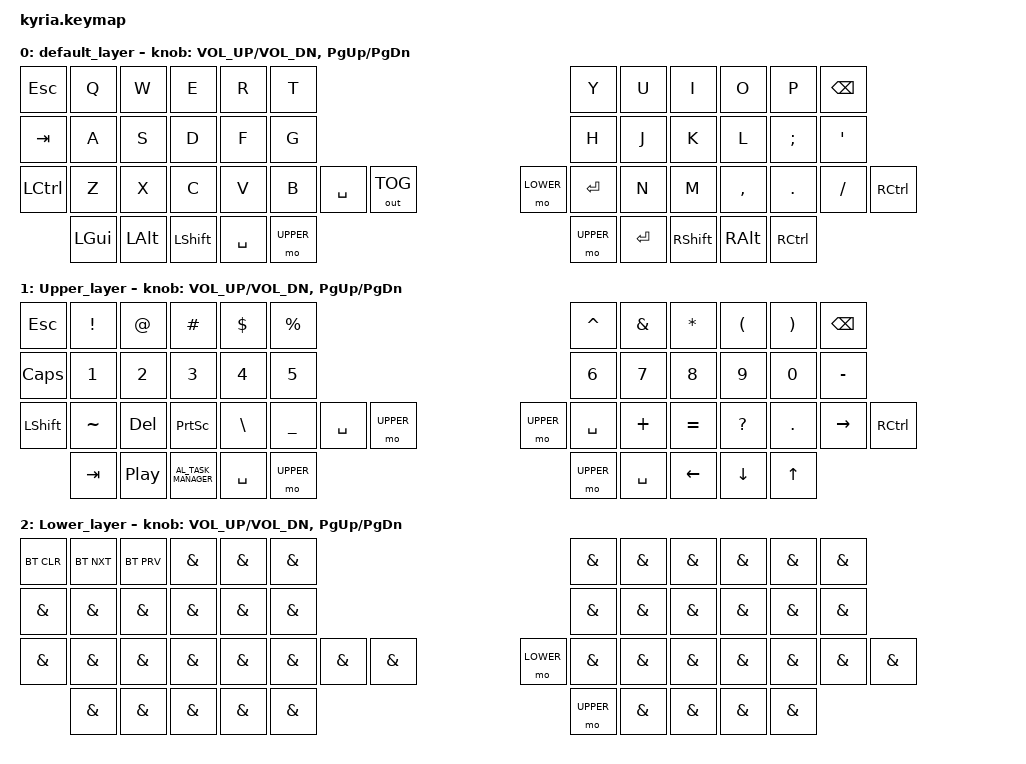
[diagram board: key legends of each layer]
/*
 * Copyright (c) 2020 The ZMK Contributors
 *
 * SPDX-License-Identifier: MIT
 */

#include <behaviors.dtsi>
#include <dt-bindings/zmk/keys.h>
#include <dt-bindings/zmk/bt.h>
#include <dt-bindings/zmk/rgb.h>
#include <dt-bindings/zmk/outputs.h>
#define DEFAULT 0
#define UPPER   1
#define LOWER   2
/ {
	keymap {
		compatible = "zmk,keymap";

		default_layer {
// ---------------------------------------------------------------------------------------------------------------------------------
// |  ESC  |  Q  |  W  |  E   |  R   |  T   |                                         |  Y   |  U    |  I    |  O   |   P   |Backspace|
// |  TAB  |  A  |  S  |  D   |  F   |  G   |                                         |  H   |  J    |  K    |  L   |   ;   |   '  |
// | L-CTRL |  Z  |  X  |  C   |  V   |  B  | SPACE | OUT-TOG |    | LOWER | ENTER |  N   |  M    |  ,    |  .   |   /   | R- CTRL |
//                     | LGUI | L-ALT | SHIFT | SPACE | UPPER |    | UPPER | ENTER | R-SHIFT | R-ALT  | R-CTRL |
			bindings = <
	&kp ESC   &kp Q &kp W &kp E &kp R &kp T                                                &kp Y &kp U  &kp I     &kp O   &kp P    &kp BSPC
	&kp TAB   &kp A &kp S &kp D &kp F &kp G                                                &kp H &kp J  &kp K     &kp L   &kp SEMI &kp SQT
	&kp LCTRL &kp Z &kp X &kp C &kp V &kp B &kp SPACE &out OUT_TOG               &mo LOWER &kp RETURN &kp N &kp M  &kp COMMA &kp DOT &kp FSLH &kp RCTRL
	            &kp LGUI &kp LALT &kp LSHFT &kp SPACE &mo UPPER                  &mo UPPER &kp RETURN &kp RSHFT &kp RALT &kp RCTRL
			>;

			sensor-bindings = <&inc_dec_kp C_VOL_UP C_VOL_DN &inc_dec_kp PG_UP PG_DN>;
		};                                                                                                                     
		Upper_layer {
// ---------------------------------------------------------------------------------------------------------------------------------
// |  ESC  |  !  |  @  |  #   |  $   |  %   |                                          |  ^   |  &    |  *    |  (  |   )  |Backspace|
// |  CAP  |  1  |  2  |  3   |  4   |  5   |                                          |  6   |  7    |  8    |  9  |   0  |  -  |
// | L-SHIFT | ~ | DELETE | PSCRN | BACKSLASH | _ | SPACE | UPPER |   | L SHIFT | ENTER |  +  |   =  | ? | . | RIGHT | R-CTRL|
//                     | TAB | C PAUSE | TASK | SPACE | UPPER |   | L SHIFT | ENTER | LEFT  | DOWN  | UP |
			bindings = <
	&kp ESC   &kp EXCL &kp AT &kp HASH  &kp DLLR &kp PRCNT                                           &kp CARET &kp AMPS &kp STAR &kp LPAR &kp RPAR &kp BSPC
	&kp CAPS  &kp N1 &kp N2 &kp N3 &kp N4 &kp N5                                                     &kp N6 &kp N7 &kp N8 &kp N9 &kp N0 &kp MINUS
	&kp LSHFT &kp TILDE &kp DELETE &kp PSCRN &kp BSLH &kp UNDER &kp SPACE &mo UPPER              &mo UPPER &kp SPACE &kp PLUS &kp EQUAL  &kp QUESTION &kp DOT &kp RIGHT  &kp RCTRL
	             &kp TAB &kp C_PLAY_PAUSE &kp C_AL_TASK_MANAGER &kp SPACE &mo UPPER              &mo UPPER &kp SPACE &kp LEFT &kp DOWN &kp UP
			>;

			sensor-bindings = <&inc_dec_kp C_VOL_UP C_VOL_DN &inc_dec_kp PG_UP PG_DN>;
		};
		Lower_layer {
// ---------------------------------------------------------------------------------------------------------------------------------
// |  BT CLR   | BT NXT | BT PRV |  & |  &  | & |                   | & |  & | & | & | & | & |
// |  &  |  &  | & |  &   |  &   |  &  |                         | & |  & | & | & | & | & |
// | & | & | & | & | & | & | & | & |                          | LOWER | & | & |  &  | & | & | & | &|
//                     | & | & | & | & | & |                  | UPPER | & | & |  &  | & |
			bindings = <
	&bt BT_CLR &bt BT_NXT &bt BT_PRV &kp AMPS  &kp AMPS &kp AMPS                               &kp AMPS &kp AMPS &kp AMPS &kp AMPS &kp AMPS &kp AMPS
	&kp AMPS   &kp AMPS   &kp AMPS &kp AMPS &kp AMPS &kp AMPS                                  &kp AMPS &kp AMPS &kp AMPS &kp AMPS &kp AMPS &kp AMPS
	&kp AMPS   &kp AMPS   &kp AMPS &kp AMPS &kp AMPS &kp AMPS &kp AMPS &kp AMPS      &mo LOWER &kp AMPS &kp AMPS &kp AMPS &kp AMPS &kp AMPS &kp AMPS  &kp AMPS
	                           &kp AMPS &kp AMPS &kp AMPS &kp AMPS &kp AMPS          &mo UPPER &kp AMPS &kp AMPS &kp AMPS &kp AMPS
			>;

			sensor-bindings = <&inc_dec_kp C_VOL_UP C_VOL_DN &inc_dec_kp PG_UP PG_DN>;
	};
};
};


